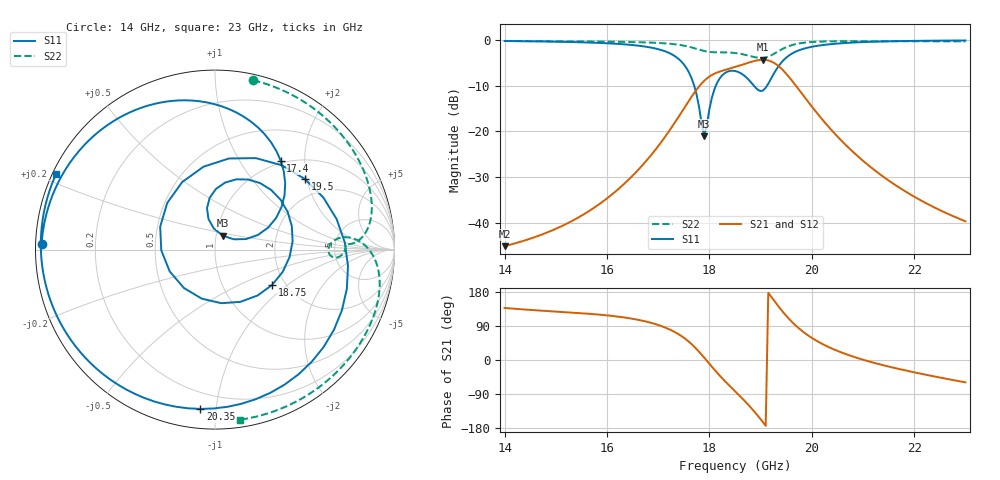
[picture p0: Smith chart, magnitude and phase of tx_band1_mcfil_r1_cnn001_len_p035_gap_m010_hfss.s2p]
! Touchstone file exported from HFSS 3D Layout Design 2026.1.0
!  File:  D:/Work/SIM/ADS_AUTO_SIM/projects/RFSOC_RF/TX_Fillter.aedt
!  Generated:  09:42:35 PM Aug 30, 2026
!  Design:  TX_BAND1_MCFIL_R1_CNN001
!  Project:  TX_Fillter
# GHz S MA R 50.000000
! Terminal data exported
! Port[1] = Port1
! Port[2] = Port2
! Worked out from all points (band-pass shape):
!   181 points, 14 GHz to 23 GHz, reference 50 ohm
!   highest |S21| = -4.38 dB at 19.05 GHz (marker M1); lowest = -45.0 dB at 14 GHz (marker M2)
!   |S21| within 3 dB of the highest: 18.1 GHz to 19.5 GHz (1.392 GHz wide, 7.41 % of centre)
!   lowest |S11| = -21.0 dB at 17.9 GHz (marker M3), VSWR 1.20, Z = 53.8 + j8.44 ohm
!   |S11| at or under -10 dB: 17.7 GHz to 18.13 GHz (426 MHz wide, 2.38 % of centre); 18.87 GHz to 19.13 GHz (261.2 MHz wide, 1.38 % of centre)
!   |S22| runs from -4.0 to -0.3 dB; largest |S21 - S12| = 1.1e-14
!   S11 on the Smith chart (normalised r, x): 14 GHz: 0.02, +0.02; 17.4 GHz: 0.96, +1.53; 18.75 GHz: 1.71, -0.78; 19.5 GHz: 1.47, +1.95; 20.35 GHz: 0.11, -0.91; 23 GHz: 0.01, +0.22
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14  0.9668 178.2  0.00562 137.3  0.00562 137.3  0.9673 77.3
15.5  0.936 144.0  0.01206 123.4  0.01206 123.4  0.9569 49.8
16.45  0.8789 112.5  0.03092 109.9  0.03092 109.9  0.9426 31.5
17  0.7877 84.5  0.06914 92.4  0.06914 92.4  0.9214 19.9
17.4  0.6152 53.4  0.1448 67.9  0.1448 67.9  0.8796 10.4
17.7  0.3193 22.4  0.2613 35.6  0.2613 35.6  0.8085 4.0
17.9  0.0889 61.1  0.3567 5.9  0.3567 5.9  0.7525 2.3
18.15  0.3382 89.1  0.4384 -33.6  0.4384 -33.6  0.7278 2.2
18.3  0.4321 64.7  0.4669 -55.3  0.4669 -55.3  0.7273 1.1
18.5  0.4559 27.4  0.5027 -82.3  0.5027 -82.3  0.7156 -1.6
18.75  0.3741 -31.8  0.558 -116.7  0.558 -116.7  0.6728 -3.8
18.9  0.3007 -83.3  0.5898 -139.6  0.5898 -139.6  0.6422 -2.8
19.05  0.2802 -154.2  0.6039 -164.8  0.6039 -164.8  0.6332 0.8
19.15  0.3311 157.2  0.5936 177.3  0.5936 177.3  0.653 3.6
19.3  0.4663 97.9  0.5414 150.1  0.5414 150.1  0.7215 5.5
19.5  0.6368 38.2  0.4256 116.6  0.4256 116.6  0.8279 2.2
19.7  0.7468 -7.1  0.3094 89.2  0.3094 89.2  0.898 -4.2
20  0.8364 -56.2  0.1869 58.3  0.1869 58.3  0.9431 -13.6
20.35  0.8913 -95.2  0.1088 32.8  0.1088 32.8  0.9583 -23.1
20.85  0.9329 -131.9  0.05675 7.0  0.05675 7.0  0.9623 -34.9
21.5  0.9594 -162.7  0.02921 -17.3  0.02921 -17.3  0.9615 -49.3
23  0.9802 154.7  0.01049 -59.0  0.01049 -59.0  0.9579 -81.8
